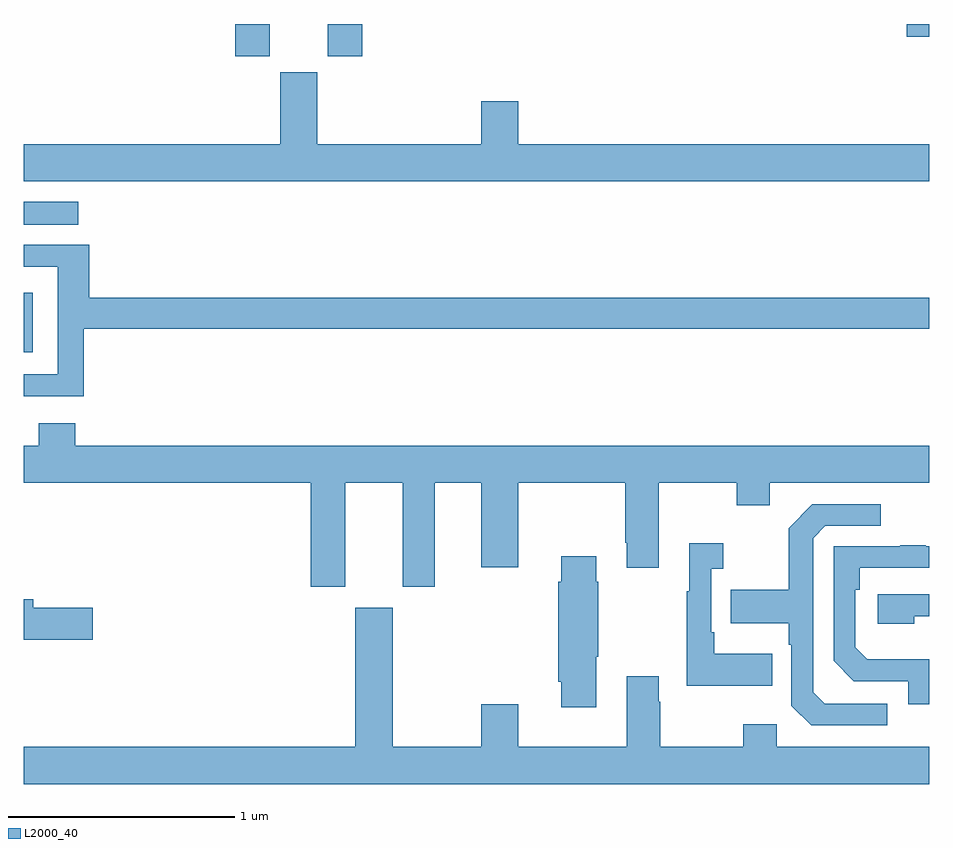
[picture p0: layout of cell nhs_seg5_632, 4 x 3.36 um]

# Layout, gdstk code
import gdstk
lib = gdstk.Library(unit=1e-6, precision=1e-09)
def R(c, l, rs):  # rectangles x0, y0, x1, y1
    for r in rs: c.add(gdstk.rectangle(r[:2], r[2:], *l))
def P(c, l, *ps):  # polygons
    for p in ps: c.add(gdstk.Polygon(p, *l))
L2000_40 = (2000, 40)

nhs_seg5_632 = lib.new_cell('nhs_seg5_632')
R(nhs_seg5_632, L2000_40, [(151,845.348,151.039,845.611), (151,845.912,151.24,846.013), (151.934,846.657,152.086,846.799), (152.342,846.657,152.495,846.799), (154.902,846.742,155,846.799)])
P(nhs_seg5_632, L2000_40, [(155,846.268),(153.184,846.268),(153.184,846.457),(153.02,846.457),(153.02,846.268),(152.296,846.268),(152.296,846.585),(152.132,846.585),(152.132,846.268),(151,846.268),(151,846.104),(155,846.104)],
  [(151.265,845.452),(155,845.452),(155,845.588),(151.289,845.588),(151.289,845.823),(151,845.823),(151,845.727),(151.149,845.727),(151.149,845.25),(151,845.25),(151,845.154),(151.265,845.154)],
  [(152.419,844.772),(152.675,844.772),(152.675,844.311),(152.815,844.311),(152.815,844.772),(153.02,844.772),(153.02,844.398),(153.184,844.398),(153.184,844.772),(153.658,844.772),(153.658,844.507),(153.665,844.507),(153.665,844.395),(153.805,844.395),(153.805,844.772),(154.15,844.772),(154.15,844.673),(154.297,844.673),(154.297,844.772),(155,844.772),(155,844.936),(151.226,844.936),(151.226,845.035),(151.066,845.035),(151.066,844.936),(151,844.936),(151,844.772),(152.267,844.772),(152.267,844.311),(152.419,844.311)],
  [(154.816,843.795),(154.539,843.795),(154.488,843.846),(154.488,844.527),(154.542,844.581),(154.786,844.581),(154.786,844.677),(154.485,844.677),(154.38,844.571),(154.38,844.299),(154.123,844.299),(154.123,844.151),(154.38,844.151),(154.38,844.055),(154.392,844.055),(154.392,843.786),(154.479,843.699),(154.816,843.699)],
  [(154.307,844.015),(154.051,844.015),(154.051,844.111),(154.038,844.111),(154.038,844.391),(154.09,844.391),(154.09,844.504),(153.941,844.504),(153.941,844.291),(153.93,844.291),(153.93,843.875),(154.307,843.875)],
  [(155,843.991),(154.727,843.991),(154.674,844.044),(154.674,844.298),(154.694,844.298),(154.694,844.395),(155,844.395),(155,844.491),(154.985,844.491),(154.985,844.496),(154.873,844.496),(154.873,844.491),(154.578,844.491),(154.578,843.984),(154.668,843.894),(154.908,843.894),(154.908,843.792),(155,843.792)],
  [(153.529,844.003),(153.537,844.003),(153.537,844.334),(153.529,844.334),(153.529,844.447),(153.374,844.447),(153.374,844.334),(153.362,844.334),(153.362,843.892),(153.374,843.892),(153.374,843.78),(153.529,843.78)],
  [(154.934,844.182),(155,844.182),(155,844.278),(154.773,844.278),(154.773,844.148),(154.934,844.148)],
  [(151.303,844.22),(151.042,844.22),(151.042,844.256),(151,844.256),(151,844.078),(151.303,844.078)],
  [(155,843.604),(154.326,843.604),(154.326,843.703),(154.18,843.703),(154.18,843.604),(153.813,843.604),(153.813,843.803),(153.805,843.803),(153.805,843.916),(153.665,843.916),(153.665,843.604),(153.184,843.604),(153.184,843.793),(153.02,843.793),(153.02,843.604),(152.629,843.604),(152.629,844.219),(152.465,844.219),(152.465,843.604),(151,843.604),(151,843.44),(155,843.44)])

lib.write_gds('nhs_seg5_632.gds')
